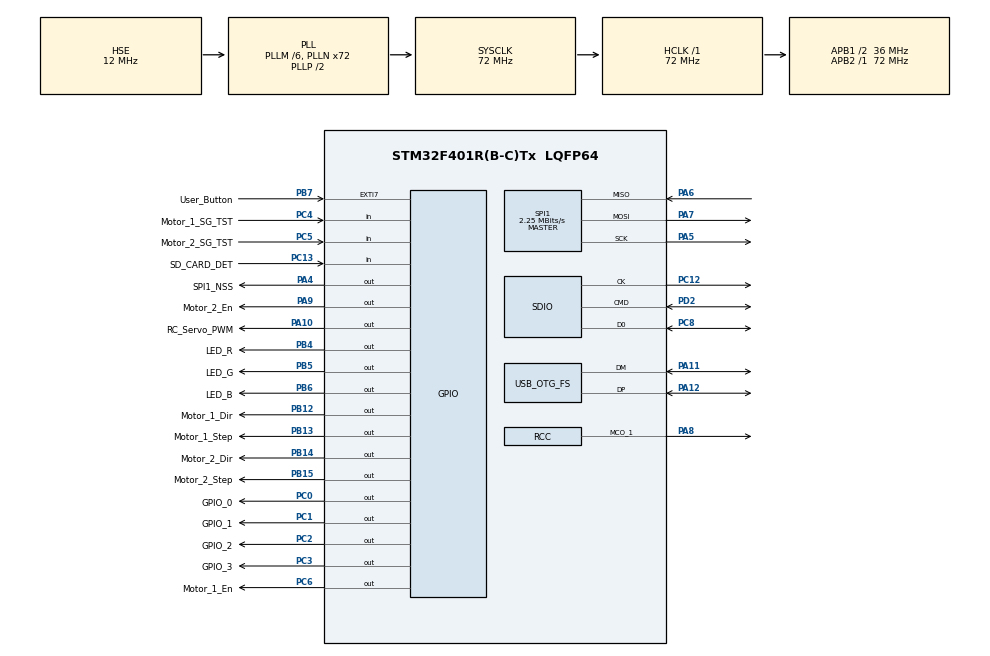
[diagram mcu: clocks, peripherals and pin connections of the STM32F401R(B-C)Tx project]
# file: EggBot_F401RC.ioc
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Mcu.Family=STM32F4
FREERTOS.Queues01=cmdQueue,8,uint32_t,0,Static,cmdQueueBuffer,cmdQueueControlBlock;motionQueue,16,uint32_t,0,Static,motionQueueBuffer,motionQueueControlBlock
Dma.SDIO_TX.1.MemInc=DMA_MINC_ENABLE
PA6.Mode=Full_Duplex_Master
USB_DEVICE.CLASS_NAME_FS=CDC
RCC.CortexFreq_Value=72000000
TIM9.Channel-PWM\ Generation1\ No\ Output=TIM_CHANNEL_1
SPI1.VirtualType=VM_MASTER
FATFS0.BSP.api=Unknown
VP_FATFS_VS_SDIO.Mode=SDIO
PC12.Signal=SDIO_CK
PB14.GPIO_Label=Motor_2_Dir
PC0.GPIO_Label=GPIO_0
PC6.GPIO_Label=Motor_1_En
PA11.Mode=Device_Only
PB6.GPIO_Label=LED_B
PB13.GPIO_Label=Motor_1_Step
PB7.GPIO_ModeDefaultEXTI=GPIO_MODE_IT_FALLING
PB15.Signal=GPIO_Output
PB13.Signal=GPIO_Output
Dma.SDIO_TX.1.PeriphBurst=DMA_PBURST_INC4
RCC.SYSCLKSource=RCC_SYSCLKSOURCE_PLLCLK
ProjectManager.StackSize=0x400
Dma.SDIO_RX.0.Direction=DMA_PERIPH_TO_MEMORY
Dma.SDIO_TX.1.Instance=DMA2_Stream6
Dma.SDIO_TX.1.PeriphInc=DMA_PINC_DISABLE
USB_DEVICE.MANUFACTURER_STRING=Androscientia
FREERTOS.configENABLE_FPU=1
PA12.Signal=USB_OTG_FS_DP
Dma.SDIO_TX.1.PeriphDataAlignment=DMA_PDATAALIGN_WORD
TIM1.Prescaler=72-1
Dma.TIM1_UP.2.Mode=DMA_CIRCULAR
PH0\ -\ OSC_IN.Signal=RCC_OSC_IN
SPI1.Direction=SPI_DIRECTION_2LINES
RCC.HCLKFreq_Value=72000000
RCC.APB2TimFreq_Value=72000000
PB6.Signal=GPIO_Output
PB5.PinState=GPIO_PIN_SET
PB12.PinState=GPIO_PIN_RESET
Dma.TIM1_UP.2.PeriphInc=DMA_PINC_DISABLE
SPI1.CalculateBaudRate=2.25 MBits/s
PC3.Signal=GPIO_Output
Dma.SDIO_TX.1.FIFOMode=DMA_FIFOMODE_ENABLE
RCC.AHBFreq_Value=72000000
FATFS0.BSP.ip=GPIO
TIM9.Pulse-PWM\ Generation1\ No\ Output=4500
Dma.TIM1_UP.2.MemDataAlignment=DMA_MDATAALIGN_WORD
VP_TIM9_VS_no_output1.Mode=PWM Generation1 No Output
RCC.HSE_VALUE=12000000
PB3.Mode=Trace_Asynchronous_SW
FATFS0.BSP.i2caddr=0
PC13-ANTI_TAMP.Signal=GPIO_Input
RCC.RCC_MCO1Source=RCC_MCO1SOURCE_PLLCLK
PB12.GPIO_Label=Motor_1_Dir
Dma.SDIO_TX.1.MemBurst=DMA_MBURST_INC4
Dma.TIM1_UP.2.Direction=DMA_MEMORY_TO_PERIPH
PC4.GPIO_Label=Motor_1_SG_TST
PA14.Mode=Trace_Asynchronous_SW
PA10.GPIO_Label=RC_Servo_PWM
RCC.RCC_MCODiv1=RCC_MCODIV_4
PB7.Signal=GPXTI7
PA8.Signal=RCC_MCO_1
Dma.SDIO_TX.1.Direction=DMA_MEMORY_TO_PERIPH
VP_FREERTOS_VS_CMSIS_V1.Mode=CMSIS_V1
Dma.SDIO_RX.0.MemDataAlignment=DMA_MDATAALIGN_WORD
VP_TIM1_VS_ClockSourceINT.Mode=Internal
TIM9.Prescaler=24-1
PB7.GPIO_Label=User_Button
Mcu.Package=LQFP64
PA6.Signal=SPI1_MISO
FATFS0.BSP.solution=PC13-ANTI_TAMP
NVIC.OTG_FS_IRQn=true\:5\:0\:false\:false\:true\:true\:false\:true
PB6.GPIO_ModeDefaultOutputPP=GPIO_MODE_OUTPUT_OD
PA10.Signal=GPIO_Output
USB_OTG_FS.VirtualMode=Device_Only
Dma.SDIO_TX.1.FIFOThreshold=DMA_FIFO_THRESHOLD_FULL
Dma.SDIO_TX.1.Priority=DMA_PRIORITY_LOW
PB5.GPIO_Label=LED_G
Dma.Request2=TIM1_UP
Dma.Request1=SDIO_TX
RCC.APB1TimFreq_Value=72000000
PC5.Signal=GPIO_Input
Dma.SDIO_RX.0.MemBurst=DMA_MBURST_INC4
TIM1.Period=10-1
Dma.SDIO_RX.0.Instance=DMA2_Stream3
Dma.Request0=SDIO_RX
SPI1.BaudRatePrescaler=SPI_BAUDRATEPRESCALER_32
PB4.PinState=GPIO_PIN_SET
PA4.GPIO_Label=SPI1_NSS
PC2.GPIO_Label=GPIO_2
TIM9.Period=60000-1
PB4.Signal=GPIO_Output
Dma.SDIO_RX.0.FIFOMode=DMA_FIFOMODE_ENABLE
PB4.GPIO_ModeDefaultOutputPP=GPIO_MODE_OUTPUT_OD
PA5.Mode=Full_Duplex_Master
PB7.GPIO_PuPd=GPIO_PULLUP
PB5.GPIO_ModeDefaultOutputPP=GPIO_MODE_OUTPUT_OD
FATFS0.BSP.STBoard=false
Dma.SDIO_RX.0.Mode=DMA_PFCTRL
Dma.SDIO_RX.0.Priority=DMA_PRIORITY_LOW
FREERTOS.Tasks01=defaultTask,0,128,StartDefaultTask,Default,NULL,Dynamic,NULL,NULL;dispatchTask,-3,128,StartDispatchTask,Default,NULL,Dynamic,NULL,NULL
PA7.Mode=Full_Duplex_Master
PC13-ANTI_TAMP.GPIO_PuPd=GPIO_PULLUP
PD2.GPIO_PuPd=GPIO_PULLUP
USB_DEVICE.VirtualModeFS=Cdc_FS
PC13-ANTI_TAMP.GPIO_Label=SD_CARD_DET
PA9.GPIO_Label=Motor_2_En
FATFS0.BSP.mode=Input
PC8.Signal=SDIO_D0
PH1\ -\ OSC_OUT.Mode=HSE-External-Clock-Source
Dma.SDIO_RX.0.PeriphInc=DMA_PINC_DISABLE
PC2.Signal=GPIO_Output
PC4.Signal=GPIO_Input
PC6.Signal=GPIO_Output
Dma.TIM1_UP.2.FIFOMode=DMA_FIFOMODE_DISABLE
PC0.Signal=GPIO_Output
RCC.APB1CLKDivider=RCC_HCLK_DIV2
Dma.TIM1_UP.2.Priority=DMA_PRIORITY_LOW
Dma.TIM1_UP.2.Instance=DMA2_Stream5
NVIC.SDIO_IRQn=true\:5\:0\:false\:false\:true\:true\:true\:true
FATFS0.BSP.instance=PC13-ANTI_TAMP
PA13.Signal=SYS_JTMS-SWDIO
PH0\ -\ OSC_IN.Mode=HSE-External-Clock-Source
Dma.SDIO_TX.1.MemDataAlignment=DMA_MDATAALIGN_WORD
Dma.SDIO_RX.0.MemInc=DMA_MINC_ENABLE
PA4.PinState=GPIO_PIN_SET
Dma.SDIO_RX.0.FIFOThreshold=DMA_FIFO_THRESHOLD_FULL
ProjectManager.TargetToolchain=STM32CubeIDE
USB_DEVICE.PRODUCT_STRING_CDC_FS=EggBot Virtual COM Port
VP_USB_DEVICE_VS_USB_DEVICE_CDC_FS.Mode=CDC_FS
PA9.Signal=GPIO_Output
PA9.PinState=GPIO_PIN_SET
SDIO.ClockDiv=12
NVIC.DMA2_Stream3_IRQn=true\:5\:0\:false\:false\:true\:true\:false\:true
NVIC.DMA2_Stream6_IRQn=true\:5\:0\:false\:false\:true\:true\:false\:true
RCC.LSE_VALUE=32768
Dma.SDIO_RX.0.PeriphDataAlignment=DMA_PDATAALIGN_WORD
PC6.PinState=GPIO_PIN_SET
PB14.Signal=GPIO_Output
PD2.Mode=SD_1_bit
FATFS.BSP.number=1
PA5.Signal=SPI1_SCK
PC12.Mode=SD_1_bit
PH1\ -\ OSC_OUT.Signal=RCC_OSC_OUT
board=custom
RCC.VCOOutputFreq_Value=144000000
VP_TIM9_VS_ClockSourceINT.Mode=Internal
RCC.APB2Freq_Value=72000000
PB4.GPIO_Label=LED_R
PB15.GPIO_Label=Motor_2_Step
SPI1.Mode=SPI_MODE_MASTER
Dma.TIM1_UP.2.PeriphDataAlignment=DMA_PDATAALIGN_WORD
NVIC.DMA2_Stream5_IRQn=true\:6\:0\:true\:false\:true\:true\:false\:true
PC1.GPIO_Label=GPIO_1
Dma.SDIO_TX.1.Mode=DMA_PFCTRL
FATFS._USE_FIND=1
PA13.Mode=Trace_Asynchronous_SW
Mcu.Name=STM32F401R(B-C)Tx
NVIC.TIM1_BRK_TIM9_IRQn=true\:5\:0\:false\:false\:true\:true\:true\:true
FATFS._MAX_SS=4096
PC8.Mode=SD_1_bit
PC12.GPIO_Speed_High_Default=GPIO_SPEED_FREQ_HIGH
RCC.48MHZClocksFreq_Value=48000000
PC8.GPIO_Speed_High_Default=GPIO_SPEED_FREQ_HIGH
PC8.GPIO_PuPd=GPIO_PULLUP
PB3.Signal=SYS_JTDO-SWO
PA4.Signal=GPIO_Output
RCC.SYSCLKFreq_VALUE=72000000
PB5.Signal=GPIO_Output
PA12.Mode=Device_Only
Dma.TIM1_UP.2.MemInc=DMA_MINC_ENABLE
PC5.GPIO_Label=Motor_2_SG_TST
PB6.PinState=GPIO_PIN_SET
PA11.Signal=USB_OTG_FS_DM
NVIC.EXTI9_5_IRQn=true\:5\:0\:false\:false\:true\:true\:true\:true
PA14.Signal=SYS_JTCK-SWCLK
ProjectManager.HeapSize=0x200
RCC.HSI_VALUE=16000000
RCC.PLLQ=3
NVIC.PriorityGroup=NVIC_PRIORITYGROUP_4
RCC.PLLM=6
RCC.PLLN=72
Dma.SDIO_RX.0.PeriphBurst=DMA_PBURST_INC4
PC3.GPIO_Label=GPIO_3
PA8.Mode=Clock-out-1
PD2.Signal=SDIO_CMD
PD2.GPIO_Speed_High_Default=GPIO_SPEED_FREQ_HIGH
RCC.APB1Freq_Value=36000000
USB_DEVICE.VirtualMode=Cdc
PC1.Signal=GPIO_Output
PB12.Signal=GPIO_Output
FATFS0.BSP.name=Detect_SDIO
PA7.Signal=SPI1_MOSI

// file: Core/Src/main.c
/* USER CODE BEGIN Header */
/**
  ******************************************************************************
  * @file           : main.c
  * @brief          : Main program body
  ******************************************************************************
  * @attention
  *
  * <h2><center>&copy; Copyright (c) 2021 STMicroelectronics.
  * All rights reserved.</center></h2>
  *
  * This software component is licensed by ST under BSD 3-Clause license,
  * the "License"; You may not use this file except in compliance with the
  * License. You may obtain a copy of the License at:
  *                        opensource.org/licenses/BSD-3-Clause
  *
  ******************************************************************************
  */
/* USER CODE END Header */
#include "main.h"
#include "cmsis_os.h"
#include "dma.h"
#include "fatfs.h"
#include "sdio.h"
#include "spi.h"
#include "tim.h"
#include "usb_device.h"
#include "gpio.h"

/* USER CODE BEGIN Includes */
#include <stdio.h>
#include "segger_rtt.h"
#include "stepper.h"
#include "servo.h"
/* USER CODE END Includes */

void SystemClock_Config(void);
void MX_FREERTOS_Init(void);

int main(void)
{

  /* MCU Configuration--------------------------------------------------------*/

  /* Reset of all peripherals, Initializes the Flash interface and the Systick. */
  HAL_Init();

  /* Configure the system clock */
  SystemClock_Config();

  /* Initialize all configured peripherals */
  MX_GPIO_Init();
  MX_DMA_Init();
  MX_SDIO_SD_Init();
  MX_SPI1_Init();
  MX_TIM1_Init();
  MX_FATFS_Init();
  MX_TIM9_Init();
  /* USER CODE BEGIN 2 */

  // Added a sprintf call here in main to ensure it preallocates memory in the main thread.
  // If sprintf is used in another thread for the first time it generates a hard fault exception
  char s[40];
  float pi = 3.14159265;
  sprintf(&s[0],"PI: %f\n", pi);

  SEGGER_RTT_WriteString(0, "Eggbot - Starting\r\n\r\n");

  Servo_Init();   // Start RC PWM Generation
  Stepper_Init(); // Initialize Stepper Motors

  /* USER CODE END 2 */

  /* Call init function for freertos objects (in freertos.c) */
  MX_FREERTOS_Init();
  /* Start scheduler */
  osKernelStart();

  /* We should never get here as control is now taken by the scheduler */
  /* Infinite loop */
  while (1)
  {

  }
}

void SystemClock_Config(void)
{
  RCC_OscInitTypeDef RCC_OscInitStruct = {0};
  RCC_ClkInitTypeDef RCC_ClkInitStruct = {0};

  /** Configure the main internal regulator output voltage
  */
  __HAL_RCC_PWR_CLK_ENABLE();
  __HAL_PWR_VOLTAGESCALING_CONFIG(PWR_REGULATOR_VOLTAGE_SCALE2);
  /** Initializes the RCC Oscillators according to the specified parameters
  * in the RCC_OscInitTypeDef structure.
  */
  RCC_OscInitStruct.OscillatorType = RCC_OSCILLATORTYPE_HSE;
  RCC_OscInitStruct.HSEState = RCC_HSE_BYPASS;
  RCC_OscInitStruct.PLL.PLLState = RCC_PLL_ON;
  RCC_OscInitStruct.PLL.PLLSource = RCC_PLLSOURCE_HSE;
  RCC_OscInitStruct.PLL.PLLM = 6;
  RCC_OscInitStruct.PLL.PLLN = 72;
  RCC_OscInitStruct.PLL.PLLP = RCC_PLLP_DIV2;
  RCC_OscInitStruct.PLL.PLLQ = 3;
  if (HAL_RCC_OscConfig(&RCC_OscInitStruct) != HAL_OK)
  {
    Error_Handler();
  }
  /** Initializes the CPU, AHB and APB buses clocks
  */
  RCC_ClkInitStruct.ClockType = RCC_CLOCKTYPE_HCLK|RCC_CLOCKTYPE_SYSCLK
                              |RCC_CLOCKTYPE_PCLK1|RCC_CLOCKTYPE_PCLK2;
  RCC_ClkInitStruct.SYSCLKSource = RCC_SYSCLKSOURCE_PLLCLK;
  RCC_ClkInitStruct.AHBCLKDivider = RCC_SYSCLK_DIV1;
  RCC_ClkInitStruct.APB1CLKDivider = RCC_HCLK_DIV2;
  RCC_ClkInitStruct.APB2CLKDivider = RCC_HCLK_DIV1;

  if (HAL_RCC_ClockConfig(&RCC_ClkInitStruct, FLASH_LATENCY_2) != HAL_OK)
  {
    Error_Handler();
  }
  HAL_RCC_MCOConfig(RCC_MCO1, RCC_MCO1SOURCE_PLLCLK, RCC_MCODIV_4);
}

void Error_Handler(void)
{
  __disable_irq();
  while (1)
  {
  }
}

/************************ (C) COPYRIGHT STMicroelectronics *****END OF FILE****/

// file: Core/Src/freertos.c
/* USER CODE BEGIN Header */
/**
  ******************************************************************************
  * File Name          : freertos.c
  * Description        : Code for freertos applications
  ******************************************************************************
  * @attention
  *
  * <h2><center>&copy; Copyright (c) 2021 STMicroelectronics.
  * All rights reserved.</center></h2>
  *
  * This software component is licensed by ST under Ultimate Liberty license
  * SLA0044, the "License"; You may not use this file except in compliance with
  * the License. You may obtain a copy of the License at:
  *                             www.st.com/SLA0044
  *
  ******************************************************************************
  */
/* USER CODE END Header */

#include "FreeRTOS.h"
#include "task.h"
#include "main.h"
#include "cmsis_os.h"

/* USER CODE BEGIN Includes */
#include <stdbool.h>
#include "usbd_cdc_if.h"
#include "File_Handling.h"
#include "parser.h"
#include "stepper.h"
#include "servo.h"
/* USER CODE END Includes */

/* USER CODE BEGIN Variables */
extern char SDPath[4];   /* SD logical drive path */
extern FATFS SDFatFS;    /* File system object for SD logical drive */
FRESULT res;

extern int32_t Motor1_CurrentPos;
extern int32_t Motor2_CurrentPos;
extern bool penState;
bool userButton = false;
bool ledRed = false;
bool ledGreen = false;
bool ledBlue = false;

osPoolDef(commandPool, 8, command_t);
osPoolId  commandPool_Id;

osPoolDef(motionPool, 32, motion_t);
osPoolId  motionPool_Id;

/* USER CODE END Variables */
osThreadId defaultTaskHandle;
osThreadId dispatchTaskHandle;
osMessageQId cmdQueueHandle;
uint8_t cmdQueueBuffer[ 8 * sizeof( uint32_t ) ];
osStaticMessageQDef_t cmdQueueControlBlock;
osMessageQId motionQueueHandle;
uint8_t motionQueueBuffer[ 16 * sizeof( uint32_t ) ];
osStaticMessageQDef_t motionQueueControlBlock;

void StartDefaultTask(void const * argument);
void StartDispatchTask(void const * argument);

extern void MX_USB_DEVICE_Init(void);
void MX_FREERTOS_Init(void); /* (MISRA C 2004 rule 8.1) */

/* GetIdleTaskMemory prototype (linked to static allocation support) */
void vApplicationGetIdleTaskMemory( StaticTask_t **ppxIdleTaskTCBBuffer, StackType_t **ppxIdleTaskStackBuffer, uint32_t *pulIdleTaskStackSize );

/* USER CODE BEGIN GET_IDLE_TASK_MEMORY */
static StaticTask_t xIdleTaskTCBBuffer;
static StackType_t xIdleStack[configMINIMAL_STACK_SIZE];

void vApplicationGetIdleTaskMemory( StaticTask_t **ppxIdleTaskTCBBuffer, StackType_t **ppxIdleTaskStackBuffer, uint32_t *pulIdleTaskStackSize )
{
  *ppxIdleTaskTCBBuffer = &xIdleTaskTCBBuffer;
  *ppxIdleTaskStackBuffer = &xIdleStack[0];
  *pulIdleTaskStackSize = configMINIMAL_STACK_SIZE;
  /* place for user code */
}
/* USER CODE END GET_IDLE_TASK_MEMORY */

void MX_FREERTOS_Init(void) {

  /* Create the queue(s) */
  /* definition and creation of cmdQueue */
  osMessageQStaticDef(cmdQueue, 8, uint32_t, cmdQueueBuffer, &cmdQueueControlBlock);
  cmdQueueHandle = osMessageCreate(osMessageQ(cmdQueue), NULL);

  /* definition and creation of motionQueue */
  osMessageQStaticDef(motionQueue, 16, uint32_t, motionQueueBuffer, &motionQueueControlBlock);
  motionQueueHandle = osMessageCreate(osMessageQ(motionQueue), NULL);

  /* Create the thread(s) */
  /* definition and creation of defaultTask */
  osThreadDef(defaultTask, StartDefaultTask, osPriorityNormal, 0, 128);
  defaultTaskHandle = osThreadCreate(osThread(defaultTask), NULL);

  /* definition and creation of dispatchTask */
  osThreadDef(dispatchTask, StartDispatchTask, osPriorityIdle, 0, 128);
  dispatchTaskHandle = osThreadCreate(osThread(dispatchTask), NULL);

}

void StartDefaultTask(void const * argument)
{
  /* init code for USB_DEVICE */
  MX_USB_DEVICE_Init();
  /* USER CODE BEGIN StartDefaultTask */
#if 0
  res = f_mount(&SDFatFS, (TCHAR const*)SDPath, 1);
  if (res != 0)
  {
	  char msg[] = "Error Mounting disk!\r\n";
	  CDC_Transmit_FS((uint8_t*) msg, (uint16_t) strlen(msg));
  }
  else
  {
	  char msg[] = "Mounting disk ok!\r\n";
	  CDC_Transmit_FS((uint8_t*) msg, (uint16_t) strlen(msg));
  }

  Scan_SD("0:/");
#endif
  /* Infinite loop */
  for(;;)
  {
	  ledRed = true;
	  osDelay(500);
	  ledRed = false;
	  osDelay(500);
	  ledGreen = true;
	  osDelay(500);
	  ledGreen = false;
	  osDelay(500);
	  ledBlue = true;
	  osDelay(500);
	  ledBlue = false;
	  osDelay(500);
  }
  /* USER CODE END StartDefaultTask */
}

void StartDispatchTask(void const * argument)
{
  /* USER CODE BEGIN StartDispatchTask */
  /* Initialize cmd pool */
  commandPool_Id = osPoolCreate(osPool(commandPool));  // create memory pool
  /* Initialize motion pool */
  motionPool_Id = osPoolCreate(osPool(motionPool));  // create memory pool
  char reply_msg[50];
  /* Infinite loop */
  for(;;)
  {
		osEvent event;
		command_t* pCommand;
		event = osMessageGet(cmdQueueHandle, osWaitForever);
		if (event.status == osEventMessage)
		{
			pCommand = event.value.p;

			switch (pCommand->cmd)
			{
			case CMD_EM: // Enable Motors - EM,Enable1[,Enable2]<CR>
				Stepper_MotorEnable(pCommand->value1, pCommand->value2);
				TransmitMsg("OK\r\n");
				break;

			case CMD_QB:
				if (userButton)
				{
					userButton = false;
					TransmitMsg("1\r\nOK\r\n");
				}
				else
					TransmitMsg("0\r\nOK\r\n");
				break;

			case CMD_QP:
				if (penState)
					TransmitMsg("1\r\nOK\r\n");
				else
					TransmitMsg("0\r\nOK\r\n");
				break;

			case CMD_QS:
				sprintf(reply_msg, "%ld,%ld\r\nOK\r\n", Motor1_CurrentPos, Motor2_CurrentPos);
				TransmitMsg(reply_msg);
				break;

			case CMD_R:
				TransmitMsg("Not Implemented Yet\r\n");
				break;

			case CMD_SC:
				switch(pCommand->value1)
				{
				case 4:
					SetPenUpValue(pCommand->value2);
					break;
				case 5:
					SetPenDownValue(pCommand->value2);
					break;
				case 100:
					SetPWMTest(pCommand->value2);
					break;
				}
				TransmitMsg("OK\r\n");
				break;

			case CMD_SE:
				TransmitMsg("Not Implemented Yet\r\n");
				break;

			case CMD_SM: // Stepper Move - SM,duration,axis1,axis2<CR>
				Stepper_Move(pCommand->value1, pCommand->value2, pCommand->value3);
				TransmitMsg("OK\r\n");
				break;

			case CMD_SP: // Set Pen - SP,value<CR>
				while (Stepper_Active())
					osDelay(5);
				SetPen(pCommand->value1);
				TransmitMsg("OK\r\n");
				break;

			case CMD_TP: // Toggle Pen - TP<CR>
				while (Stepper_Active())
					osDelay(5);
				TogglePen();
				TransmitMsg("OK\r\n");
				break;

			case CMD_V:
				TransmitMsg("EBBvTBD EggBot FW v0.1 (c) 2021 Androscientia\r\n");
				break;

			default:
				TransmitMsg("ERROR\r\n");
				break;
			}

			osPoolFree(commandPool_Id, pCommand); // free memory allocated for message
		}
  }
  /* USER CODE END StartDispatchTask */
}

/* USER CODE BEGIN Application */
void HAL_GPIO_EXTI_Callback(uint16_t GPIO_Pin)
{
	if (GPIO_Pin == User_Button_Pin)
	{
		userButton = true;
	}
}
/* USER CODE END Application */

/************************ (C) COPYRIGHT STMicroelectronics *****END OF FILE****/
